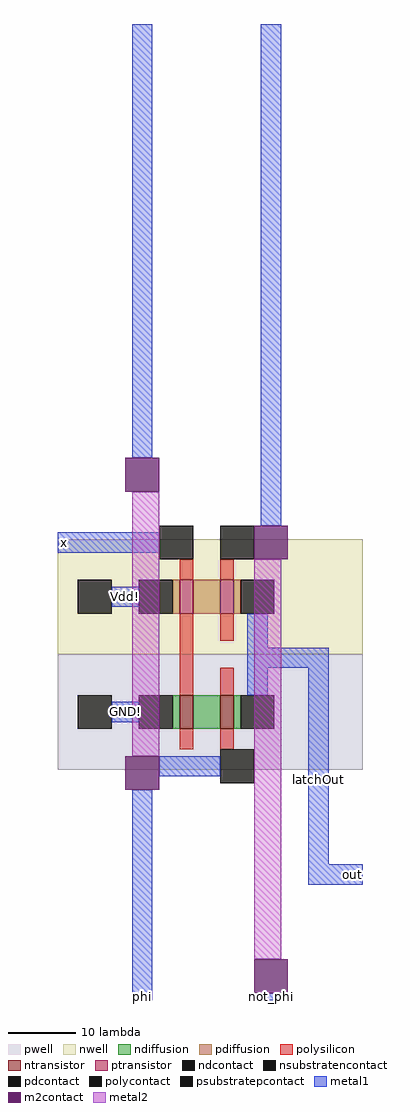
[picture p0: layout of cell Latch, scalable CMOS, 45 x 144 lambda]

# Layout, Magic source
magic
tech scmos
<< nwell >>
rect -12 -6 33 11
<< pwell >>
rect -12 -23 33 -6
<< ntransistor >>
rect 6 -17 8 -12
rect 12 -17 14 -12
<< ptransistor >>
rect 6 0 8 5
rect 12 0 14 5
<< ndiffusion >>
rect 5 -17 6 -12
rect 8 -17 12 -12
rect 14 -17 15 -12
<< pdiffusion >>
rect 5 0 6 5
rect 8 0 12 5
rect 14 0 15 5
<< ndcontact >>
rect 0 -17 5 -12
rect 15 -17 20 -12
<< pdcontact >>
rect 0 0 5 5
rect 15 0 20 5
<< psubstratepcontact >>
rect -9 -17 -4 -12
<< nsubstratencontact >>
rect -9 0 -4 5
<< polysilicon >>
rect 6 5 8 8
rect 12 5 14 8
rect 6 -12 8 0
rect 12 -4 14 0
rect 12 -12 14 -8
rect 6 -20 8 -17
rect 12 -20 14 -17
<< polycontact >>
rect 3 8 8 13
rect 12 8 17 13
rect 12 -25 17 -20
<< metal1 >>
rect -1 23 2 87
rect 18 13 21 87
rect -12 9 3 12
rect -4 1 0 4
rect 16 -5 19 0
rect 16 -8 28 -5
rect 16 -12 19 -8
rect -4 -16 0 -13
rect 3 -24 12 -21
rect -1 -57 2 -26
rect 25 -37 28 -8
rect 25 -40 33 -37
rect 18 -57 21 -56
<< m2contact >>
rect -2 18 3 23
rect 17 8 22 13
rect -2 -26 3 -21
rect 17 -56 22 -51
<< metal2 >>
rect -1 -21 3 18
rect 17 -51 21 8
<< labels >>
rlabel metal1 -3 2 -1 3 1 Vdd!
rlabel metal1 -3 -15 -1 -14 1 GND!
rlabel metal1 -12 9 -10 12 3 x
rlabel metal1 18 -57 21 -56 1 not_phi
rlabel metal1 -1 -57 2 -56 1 phi
rlabel metal1 25 -26 28 -23 1 latchOut
rlabel metal1 30 -40 33 -37 7 out
<< end >>
